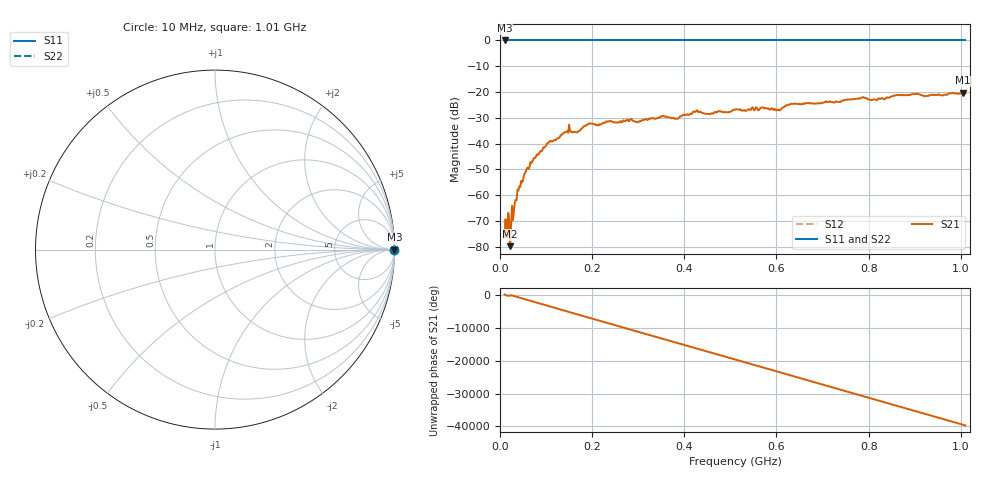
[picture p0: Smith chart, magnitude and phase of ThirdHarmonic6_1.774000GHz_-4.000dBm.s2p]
! 8/16/2025 9:25:54 PM
! C:\ANRITSUVNA\TEMP\TEMP.S2P
! CHANNEL.1
! TR.MEASUREMENT
! RAW.DATA
! RF.CORRECTION.OFF
! AVERAGING.OFF
! IF.BANDWIDTH: 5KHZ
! SWEEPTYPE:  FREQ.SWEEP(Linear)
! Reference Plane Port Info
! PORT:  PORT1  PORT2
! DISTANCE:  0  m  0  m
! TIME:  0  s  0  s
! PHASE.OFFSET:  0  deg.  0  deg.
! LOSS:  0  dB  0  dB
! REF.LOSS:  0  dB  0  dB
! REF.FREQ:  0  Hz  0  Hz
! Power Info
! POWER:  -20  dBm  -20  dBm
! EFF.POWER:  -20  dBm  -20  dBm
! SOURCE.ATTEN:  0  dB  0  dB
! TEST.ATTEN:  0  dB  0  dB
# GHZ S RI R 50.0
! FREQ.GHZ  S11RE  S11IM  S21RE  S21IM  S12RE  S12IM  S22RE  S22IM
!; PortSelection: Port_12
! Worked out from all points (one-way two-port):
!   501 points, 10 MHz to 1.01 GHz, reference 50 ohm
!   highest |S21| = -20.25 dB at 1.004 GHz (marker M1); lowest = -79.7 dB at 22 MHz (marker M2)
!   lowest |S11| = 0.0 dB at 10 MHz (marker M3)
!   |S11| at or under -10 dB: nowhere
!   |S22| runs from 0.0 to 0.0 dB; largest |S21 - S12| = 1.1
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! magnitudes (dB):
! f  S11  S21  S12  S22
! 10 MHz  0.0  -76.3  0.0  0.0
! 16 MHz  0.0  -76.2  0.0  0.0
! 18 MHz  0.0  -66.8  0.0  0.0
! 22 MHz  0.0  -79.7  0.0  0.0
! 26 MHz  0.0  -64.1  0.0  0.0
! 30 MHz  0.0  -66.2  0.0  0.0
! 42 MHz  0.0  -56.5  0.0  0.0
! 70 MHz  0.0  -46.9  0.0  0.0
! 106 MHz  0.0  -39.6  0.0  0.0
! 146 MHz  0.0  -35.2  0.0  0.0
! 166 MHz  0.0  -35.6  0.0  0.0
! 178 MHz  0.0  -34.0  0.0  0.0
! 194 MHz  0.0  -32.2  0.0  0.0
! 344 MHz  0.0  -30.0  0.0  0.0
! 384 MHz  0.0  -30.3  0.0  0.0
! 510 MHz  0.0  -26.8  0.0  0.0
! 604 MHz  0.0  -26.8  0.0  0.0
! 634 MHz  0.0  -24.6  0.0  0.0
! 678 MHz  0.0  -24.4  0.0  0.0
! 844 MHz  0.0  -22.1  0.0  0.0
! 1.004 GHz  0.0  -20.2  0.0  0.0
! 1.01 GHz  0.0  -20.6  0.0  0.0
